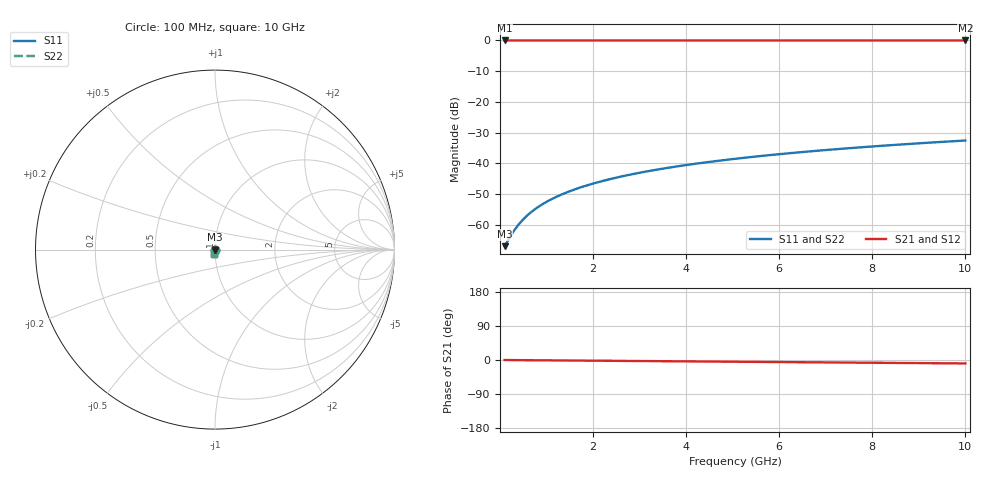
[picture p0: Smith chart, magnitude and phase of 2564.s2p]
# Hz S RI R 50.00
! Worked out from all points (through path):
!   100 points, 100 MHz to 10 GHz, reference 50 ohm
!   highest |S21| = 0.00 dB at 100 MHz (marker M1); lowest = 0.0 dB at 10 GHz (marker M2)
!   group delay of S21, straight-line fit = 2.52 ps
!   lowest |S11| = -66.9 dB at 100 MHz (marker M3), VSWR 1.00, Z = 50 - j0.0234 ohm
!   |S11| at or under -10 dB: start of sweep to end of sweep
!   |S22| runs from -66.9 to -32.6 dB; largest |S21 - S12| = 0
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1e8  0.000385 -0.000234  0.9996 -0.00157  0.9996 -0.00157  0.000385 -0.000234
2e8  0.000385 -0.000468  0.9996 -0.00314  0.9996 -0.00314  0.000385 -0.000468
3e8  0.000385 -0.000702  0.9996 -0.00471  0.9996 -0.00471  0.000385 -0.000702
4e8  0.000383 -0.000936  0.9996 -0.00628  0.9996 -0.00628  0.000383 -0.000936
5e8  0.00038 -0.00117  0.9996 -0.00785  0.9996 -0.00785  0.00038 -0.00117
6e8  0.000376 -0.0014  0.9996 -0.00942  0.9996 -0.00942  0.000376 -0.0014
7e8  0.000372 -0.00164  0.9995 -0.011  0.9995 -0.011  0.000372 -0.00164
9e8  0.00036 -0.00211  0.9995 -0.0141  0.9995 -0.0141  0.00036 -0.00211
1e9  0.000353 -0.00234  0.9995 -0.0157  0.9995 -0.0157  0.000353 -0.00234
1.2e9  0.000337 -0.00281  0.9994 -0.0188  0.9994 -0.0188  0.000337 -0.00281
1.5e9  0.000307 -0.00351  0.9993 -0.0236  0.9993 -0.0236  0.000307 -0.00351
1.8e9  0.00027 -0.00422  0.9992 -0.0283  0.9992 -0.0283  0.00027 -0.00422
2.1e9  0.000226 -0.00492  0.999 -0.033  0.999 -0.033  0.000226 -0.00492
2.5e9  0.000157 -0.00586  0.9988 -0.0393  0.9988 -0.0393  0.000157 -0.00586
2.9e9  7.58e-05 -0.0068  0.9985 -0.0456  0.9985 -0.0456  7.58e-05 -0.0068
3.4e9  -4.25e-05 -0.00798  0.9981 -0.0535  0.9981 -0.0535  -4.25e-05 -0.00798
4.2e9  -0.000271 -0.00986  0.9973 -0.0661  0.9973 -0.0661  -0.000271 -0.00986
5.1e9  -0.000585 -0.012  0.9962 -0.0802  0.9962 -0.0802  -0.000585 -0.012
5.9e9  -0.000916 -0.0139  0.9951 -0.0929  0.9951 -0.0929  -0.000916 -0.0139
6.7e9  -0.0013 -0.0157  0.9938 -0.1055  0.9938 -0.1055  -0.0013 -0.0157
8.4e9  -0.00226 -0.0197  0.9905 -0.1323  0.9905 -0.1323  -0.00226 -0.0197
1e10  -0.00336 -0.0233  0.9867 -0.1576  0.9867 -0.1576  -0.00336 -0.0233
